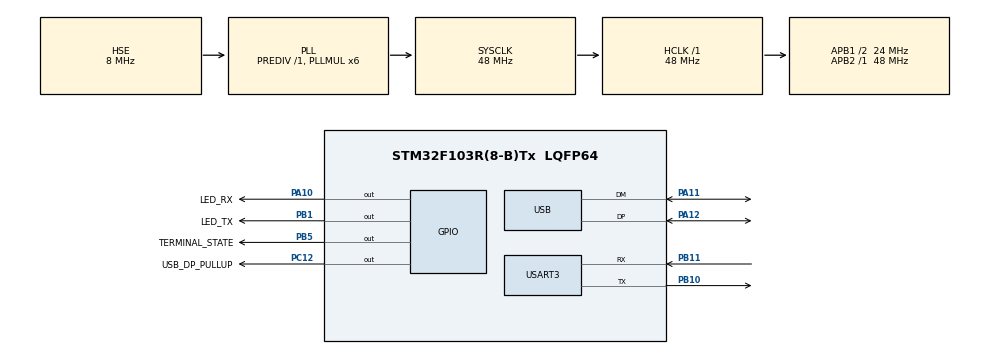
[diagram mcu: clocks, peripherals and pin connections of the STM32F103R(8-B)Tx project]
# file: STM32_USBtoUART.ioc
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Mcu.Family=STM32F1
Mcu.Name=STM32F103R(8-B)Tx
Mcu.Package=LQFP64
NVIC.PriorityGroup=NVIC_PRIORITYGROUP_4
NVIC.USART3_IRQn=true\:0\:0\:false\:false\:true\:true\:true\:true
NVIC.USB_LP_CAN1_RX0_IRQn=true\:0\:0\:false\:false\:true\:false\:true\:true
PA10.GPIO_Label=LED_RX
PA10.Signal=GPIO_Output
PA11.Mode=Device
PA11.Signal=USB_DM
PA12.Mode=Device
PA12.Signal=USB_DP
PA13.Mode=Serial_Wire
PA13.Signal=SYS_JTMS-SWDIO
PA14.Mode=Serial_Wire
PA14.Signal=SYS_JTCK-SWCLK
PB1.GPIO_Label=LED_TX
PB1.Signal=GPIO_Output
PB10.Mode=Asynchronous
PB10.Signal=USART3_TX
PB11.Mode=Asynchronous
PB11.Signal=USART3_RX
PB5.GPIO_Label=TERMINAL_STATE
PB5.Signal=GPIO_Output
PC12.GPIO_Label=USB_DP_PULLUP
PC12.PinState=GPIO_PIN_SET
PC12.Signal=GPIO_Output
PD0-OSC_IN.Mode=HSE-External-Oscillator
PD0-OSC_IN.Signal=RCC_OSC_IN
PD1-OSC_OUT.Mode=HSE-External-Oscillator
PD1-OSC_OUT.Signal=RCC_OSC_OUT
ProjectManager.HeapSize=0x200
ProjectManager.StackSize=0x400
ProjectManager.TargetToolchain=STM32CubeIDE
RCC.AHBFreq_Value=48000000
RCC.APB1CLKDivider=RCC_HCLK_DIV2
RCC.APB1Freq_Value=24000000
RCC.APB1TimFreq_Value=48000000
RCC.APB2Freq_Value=48000000
RCC.APB2TimFreq_Value=48000000
RCC.HCLKFreq_Value=48000000
RCC.PLLMUL=RCC_PLL_MUL6
RCC.SYSCLKFreq_VALUE=48000000
RCC.SYSCLKSource=RCC_SYSCLKSOURCE_PLLCLK
RCC.USBFreq_Value=48000000
USART3.VirtualMode=VM_ASYNC
USB_DEVICE.CLASS_NAME_FS=CDC
USB_DEVICE.VirtualMode=Cdc
USB_DEVICE.VirtualModeFS=Cdc_FS
VP_USB_DEVICE_VS_USB_DEVICE_CDC_FS.Mode=CDC_FS
board=custom

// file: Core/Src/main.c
/* USER CODE BEGIN Header */
/**
  ******************************************************************************
  * @file           : main.c
  * @brief          : Main program body
  ******************************************************************************
  * @attention
  *
  * Copyright (c) 2025 STMicroelectronics.
  * All rights reserved.
  *
  * This software is licensed under terms that can be found in the LICENSE file
  * in the root directory of this software component.
  * If no LICENSE file comes with this software, it is provided AS-IS.
  *
  ******************************************************************************
  */
/* USER CODE END Header */
#include "main.h"
#include "usb_device.h"

UART_HandleTypeDef huart3;

void SystemClock_Config(void);
static void MX_GPIO_Init(void);
static void MX_USART3_UART_Init(void);

/* USER CODE BEGIN 0 */
#include "usbd_cdc_if.h"

uint8_t rx_data;
uint8_t led_rx_flag = 0;
uint32_t led_rx_on_tick = 0;

uint8_t led_tx_flag = 0;
uint32_t led_tx_on_tick = 0;

void HAL_UART_RxCpltCallback(UART_HandleTypeDef *huart)
{
  if(huart->Instance == USART3)
  {
    CDC_Transmit_FS(&rx_data, 1);
    HAL_UART_Receive_IT(&huart3, &rx_data, 1);

    if (rx_data >= 0x01 && rx_data <= 0x7F)
    {
        HAL_GPIO_WritePin(LED_RX_GPIO_Port, LED_RX_Pin, GPIO_PIN_SET);
        led_rx_flag = 1;
        led_rx_on_tick = HAL_GetTick();
    }
  }
}
/* USER CODE END 0 */

int main(void)
{

  /* MCU Configuration--------------------------------------------------------*/

  /* Reset of all peripherals, Initializes the Flash interface and the Systick. */
  HAL_Init();

  /* Configure the system clock */
  SystemClock_Config();

  /* Initialize all configured peripherals */
  MX_GPIO_Init();
  MX_USB_DEVICE_Init();
  MX_USART3_UART_Init();
  /* USER CODE BEGIN 2 */
  HAL_UART_Receive_IT(&huart3, &rx_data, 1);
  /* USER CODE END 2 */

  /* Infinite loop */
  /* USER CODE BEGIN WHILE */
  while (1)
  {
    // RX LED
    if (led_rx_flag && (HAL_GetTick() - led_rx_on_tick >= 10))
    {
        HAL_GPIO_WritePin(LED_RX_GPIO_Port, LED_RX_Pin, GPIO_PIN_RESET);
        led_rx_flag = 0;
    }

    // TX LED
    if (led_tx_flag && (HAL_GetTick() - led_tx_on_tick >= 10))
    {
        HAL_GPIO_WritePin(LED_TX_GPIO_Port, LED_TX_Pin, GPIO_PIN_RESET);
        led_tx_flag = 0;
    }

    /* USER CODE END WHILE */

  }
}

void SystemClock_Config(void)
{
  RCC_OscInitTypeDef RCC_OscInitStruct = {0};
  RCC_ClkInitTypeDef RCC_ClkInitStruct = {0};
  RCC_PeriphCLKInitTypeDef PeriphClkInit = {0};

  /** Initializes the RCC Oscillators according to the specified parameters
  * in the RCC_OscInitTypeDef structure.
  */
  RCC_OscInitStruct.OscillatorType = RCC_OSCILLATORTYPE_HSE;
  RCC_OscInitStruct.HSEState = RCC_HSE_ON;
  RCC_OscInitStruct.HSEPredivValue = RCC_HSE_PREDIV_DIV1;
  RCC_OscInitStruct.HSIState = RCC_HSI_ON;
  RCC_OscInitStruct.PLL.PLLState = RCC_PLL_ON;
  RCC_OscInitStruct.PLL.PLLSource = RCC_PLLSOURCE_HSE;
  RCC_OscInitStruct.PLL.PLLMUL = RCC_PLL_MUL6;
  if (HAL_RCC_OscConfig(&RCC_OscInitStruct) != HAL_OK)
  {
    Error_Handler();
  }

  /** Initializes the CPU, AHB and APB buses clocks
  */
  RCC_ClkInitStruct.ClockType = RCC_CLOCKTYPE_HCLK|RCC_CLOCKTYPE_SYSCLK
                              |RCC_CLOCKTYPE_PCLK1|RCC_CLOCKTYPE_PCLK2;
  RCC_ClkInitStruct.SYSCLKSource = RCC_SYSCLKSOURCE_PLLCLK;
  RCC_ClkInitStruct.AHBCLKDivider = RCC_SYSCLK_DIV1;
  RCC_ClkInitStruct.APB1CLKDivider = RCC_HCLK_DIV2;
  RCC_ClkInitStruct.APB2CLKDivider = RCC_HCLK_DIV1;

  if (HAL_RCC_ClockConfig(&RCC_ClkInitStruct, FLASH_LATENCY_1) != HAL_OK)
  {
    Error_Handler();
  }
  PeriphClkInit.PeriphClockSelection = RCC_PERIPHCLK_USB;
  PeriphClkInit.UsbClockSelection = RCC_USBCLKSOURCE_PLL;
  if (HAL_RCCEx_PeriphCLKConfig(&PeriphClkInit) != HAL_OK)
  {
    Error_Handler();
  }
}

static void MX_USART3_UART_Init(void)
{

  huart3.Instance = USART3;
  huart3.Init.BaudRate = 115200;
  huart3.Init.WordLength = UART_WORDLENGTH_8B;
  huart3.Init.StopBits = UART_STOPBITS_1;
  huart3.Init.Parity = UART_PARITY_NONE;
  huart3.Init.Mode = UART_MODE_TX_RX;
  huart3.Init.HwFlowCtl = UART_HWCONTROL_NONE;
  huart3.Init.OverSampling = UART_OVERSAMPLING_16;
  if (HAL_UART_Init(&huart3) != HAL_OK)
  {
    Error_Handler();
  }

}

static void MX_GPIO_Init(void)
{
  GPIO_InitTypeDef GPIO_InitStruct = {0};

  /* GPIO Ports Clock Enable */
  __HAL_RCC_GPIOD_CLK_ENABLE();
  __HAL_RCC_GPIOB_CLK_ENABLE();
  __HAL_RCC_GPIOA_CLK_ENABLE();
  __HAL_RCC_GPIOC_CLK_ENABLE();

  /*Configure GPIO pin Output Level */
  HAL_GPIO_WritePin(GPIOB, LED_TX_Pin|TERMINAL_STATE_Pin, GPIO_PIN_RESET);

  /*Configure GPIO pin Output Level */
  HAL_GPIO_WritePin(LED_RX_GPIO_Port, LED_RX_Pin, GPIO_PIN_RESET);

  /*Configure GPIO pin Output Level */
  HAL_GPIO_WritePin(USB_DP_PULLUP_GPIO_Port, USB_DP_PULLUP_Pin, GPIO_PIN_SET);

  /*Configure GPIO pins : LED_TX_Pin TERMINAL_STATE_Pin */
  GPIO_InitStruct.Pin = LED_TX_Pin|TERMINAL_STATE_Pin;
  GPIO_InitStruct.Mode = GPIO_MODE_OUTPUT_PP;
  GPIO_InitStruct.Pull = GPIO_NOPULL;
  GPIO_InitStruct.Speed = GPIO_SPEED_FREQ_LOW;
  HAL_GPIO_Init(GPIOB, &GPIO_InitStruct);

  /*Configure GPIO pin : LED_RX_Pin */
  GPIO_InitStruct.Pin = LED_RX_Pin;
  GPIO_InitStruct.Mode = GPIO_MODE_OUTPUT_PP;
  GPIO_InitStruct.Pull = GPIO_NOPULL;
  GPIO_InitStruct.Speed = GPIO_SPEED_FREQ_LOW;
  HAL_GPIO_Init(LED_RX_GPIO_Port, &GPIO_InitStruct);

  /*Configure GPIO pin : USB_DP_PULLUP_Pin */
  GPIO_InitStruct.Pin = USB_DP_PULLUP_Pin;
  GPIO_InitStruct.Mode = GPIO_MODE_OUTPUT_PP;
  GPIO_InitStruct.Pull = GPIO_NOPULL;
  GPIO_InitStruct.Speed = GPIO_SPEED_FREQ_LOW;
  HAL_GPIO_Init(USB_DP_PULLUP_GPIO_Port, &GPIO_InitStruct);

}

void Error_Handler(void)
{
  __disable_irq();
  while (1)
  {
  }
}
